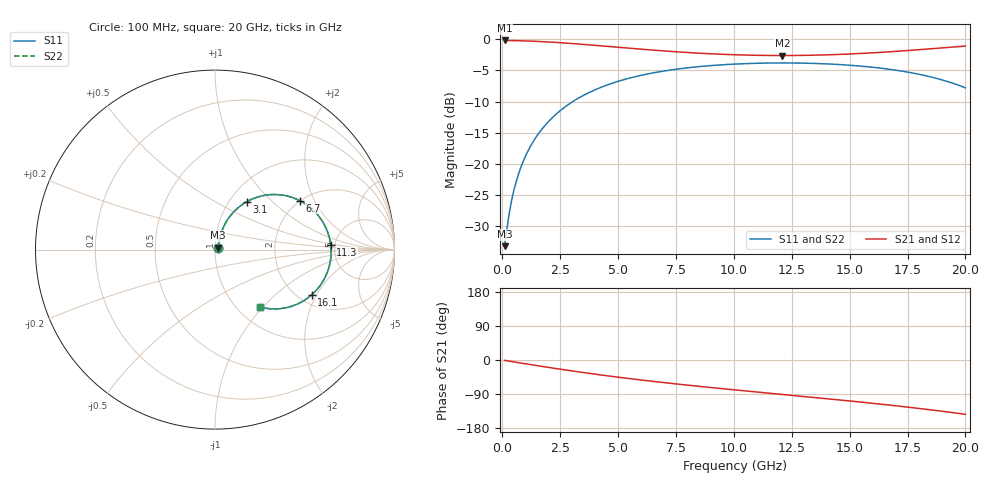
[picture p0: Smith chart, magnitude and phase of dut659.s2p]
! Touchstone file exported from HFSS 2026.1.0
!  File:  C:/ffzhzh/LocalFiles/Ansys_Project_Files/temp_train_TSV_RDL_659_1783130432_50312.aedt
!  Generated:  10:11:48 AM Jul  4, 2026
!  Design:  TSV_RDL
!  Project:  temp_train_TSV_RDL_659_1783130432_50312
! Variables:
!  h_bsmrdl = 2.21um
!  h_ox = 20um
!  h_rdl = 5um
!  h_sub = 53.44um
!  h_tmrdl = 4.6um
!  h_tsv = 53.44um
!  h_via = 3um
!  l_bsmrdl = 368.77um
!  l_sub = 2713.65um
!  l_tmrdl = 268.22um
!  m_sub = 200um
!  pitch = 59.14um
!  r_tsv = 3.41um
!  s_tmrdl = 10um
!  w_bsmrdl = 16.55um
!  w_sub = 500um
!  w_tmrdl = 28.27um
!  x_tsv_center1 = 282.355um
!  x_tsv_center2 = 667.675um
!  x_tsv_center3 = 964.165um
!  x_tsv_center4 = 1349.485um
!  x_tsv_center5 = 1645.975um
!  x_tsv_center6 = 2031.295um
# GHz S MA R 50.000000
! Terminal data exported
! Port[1] = TM_RDL1_1_T1
! Port[2] = TM_RDL5_1_T1
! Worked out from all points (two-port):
!   200 points, 100 MHz to 20 GHz, reference 50 ohm
!   highest |S21| = -0.16 dB at 100 MHz (marker M1); lowest = -2.6 dB at 12.1 GHz (marker M2)
!   |S21| within 3 dB of the highest: start of sweep to end of sweep
!   lowest |S11| = -33.3 dB at 100 MHz (marker M3), VSWR 1.04, Z = 51.8 + j1.2 ohm
!   |S11| at or under -10 dB: start of sweep to 3.049 GHz
!   |S22| runs from -33.3 to -3.8 dB; largest |S21 - S12| = 1.7e-13
!   S11 on the Smith chart (normalised r, x): 100 MHz: 1.04, +0.02; 3.1 GHz: 1.20, +0.71; 6.7 GHz: 1.99, +1.55; 11.3 GHz: 4.59, +0.43; 16.1 GHz: 2.33, -1.82; 20 GHz: 1.26, -0.97
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0.1  0.02159 32.5  0.9819 -1.0  0.9819 -1.0  0.02159 32.5
! Gamma 0 0 0 0
! Port Impedance 50 0 50 0
0.3  0.03974 58.8  0.9806 -3.1  0.9806 -3.1  0.03974 58.8
0.5  0.06073 66.4  0.9789 -5.1  0.9789 -5.1  0.06073 66.4
0.7  0.08226 69.1  0.977 -7.0  0.977 -7.0  0.08226 69.1
1  0.1146 69.8  0.9733 -10.0  0.9733 -10.0  0.1146 69.8
1.4  0.1571 68.5  0.967 -13.9  0.967 -13.9  0.1571 68.5
1.9  0.2085 65.5  0.9569 -18.7  0.9569 -18.7  0.2085 65.5
2.5  0.2668 61.1  0.9421 -24.2  0.9421 -24.2  0.2668 61.1
3.1  0.3207 56.4  0.9251 -29.6  0.9251 -29.6  0.3207 56.4
3.5  0.354 53.2  0.9129 -33.1  0.9129 -33.1  0.354 53.2
5  0.4599 41.8  0.8653 -45.4  0.8653 -45.4  0.4599 41.8
6.7  0.5458 30.0  0.8155 -57.8  0.8155 -57.8  0.5458 30.0
6.8  0.5499 29.3  0.8129 -58.5  0.8129 -58.5  0.5499 29.3
8.4  0.6019 19.2  0.777 -68.9  0.777 -68.9  0.6019 19.2
10.1  0.6342 9.2  0.7524 -79.2  0.7524 -79.2  0.6342 9.2
11.3  0.6449 2.4  0.7439 -86.3  0.7439 -86.3  0.645 2.4
12.1  0.647 -2.0  0.7423 -90.9  0.7423 -90.9  0.647 -2.0
13.4  0.6418 -9.3  0.7467 -98.4  0.7467 -98.4  0.6418 -9.3
16.1  0.5942 -25.2  0.7826 -114.9  0.7826 -114.9  0.5942 -25.2
16.7  0.5758 -28.9  0.7952 -118.8  0.7952 -118.8  0.5758 -28.9
18.5  0.4995 -40.9  0.8411 -131.5  0.8411 -131.5  0.4995 -40.9
20  0.4078 -51.8  0.8847 -143.3  0.8847 -143.3  0.4078 -51.7
